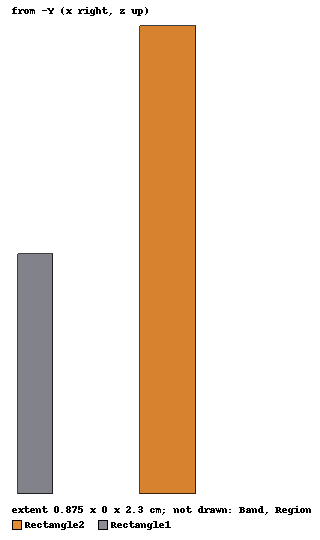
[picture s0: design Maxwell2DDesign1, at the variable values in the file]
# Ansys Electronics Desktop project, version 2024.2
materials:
  vacuum: permittivity=1
  air: permittivity=1.0006 permeability=1.0000004
  iron: permeability=4000 conductivity=10300000
  copper: permeability=0.999991 conductivity=58000000

design Maxwell2DDesign1 (Maxwell 2D, Transient, about Z geometry, model units cm)
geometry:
  Rectangle1 [iron] = rectangle(corner=(0cm, 0cm, 0cm), z_size=1.18cm, x_size=0.17cm)
  Rectangle2 [copper] = rectangle(corner=(0.6cm, 0cm, 0cm), z_size=2.3cm, x_size=0.275cm)
  Band [air] = rectangle(corner=(0cm, 0cm, -1.5cm), z_size=20cm, x_size=0.4cm)
  Region [air] = region(percentage_offset: +X=100, -X=100, +Y=0, -Y=0, +Z=100, -Z=100)
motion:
  MotionSetup1: Band Move_Type=Translate Coordinate_System=Global PostProcessing_Coordinate_System=Global Axis=Z Is_Positive=true InitPos=0cm NegativePos=0cm PositivePos=15cm Velocity=0m_per_sec Mass=1gram Damping=0 Load_Force=0newton Objects=Band
  Moving1: Moving Objects=Rectangle1
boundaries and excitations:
  Balloon1: Balloon Edges=Region.edge(at (1.75, 0, 8.5), at (0.875, 0, 38.5), at (0.875, 0, -21.5))
  Symmetry1: Symmetry Edges=Region.edge(at (0, 0, 8.5)) IsOdd=true
  Rectangle2: Coil Objects=Rectangle2 Conductor_number=77 Winding=Winding1 PolarityType=Positive
  Winding1: Winding Group Type=External IsSolid=false Current=0mA ParallelBranchesNum=1
  eddy effects on: Rectangle1, Rectangle2
  core loss on: Rectangle1, Rectangle2
  external circuit: "* Design: Project1_ckt\"
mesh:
  Length1: LengthBased RefineInside Objects=Band MaxLength=0.05cm
  Length2: LengthBased RefineInside Objects=[Rectangle1, Rectangle2] MaxLength=0.05cm
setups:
  Setup1: Transient NonlinearSolverResidual=0.0001 StopTime=10ms TimeStep=0.01ms InitialTimeStep=0.002s MinTimeStep=0.001s MaxTimeStep=0.003s TimeStepErrTolerance=0.0001
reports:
  Position Plot 1: Position vs Time on Setup1 : Transient
  Speed Plot 1: Moving1.Speed vs Time on Setup1 : Transient
  Winding Plot 1: Current(Winding1) vs Time on Setup1 : Transient

design Project1_ckt (Maxwell Circuit)
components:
  Winding_2 = Winding(Name=Winding1)
  Cap_3 = Cap(IC=35V C=1000uF)
  Res_4 = Res(R=0.08ohm)
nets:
  0: Winding_2.1, Cap_3.1
  net_1: Winding_2.0, Res_4.1
  net_3: Cap_3.0, Res_4.0
